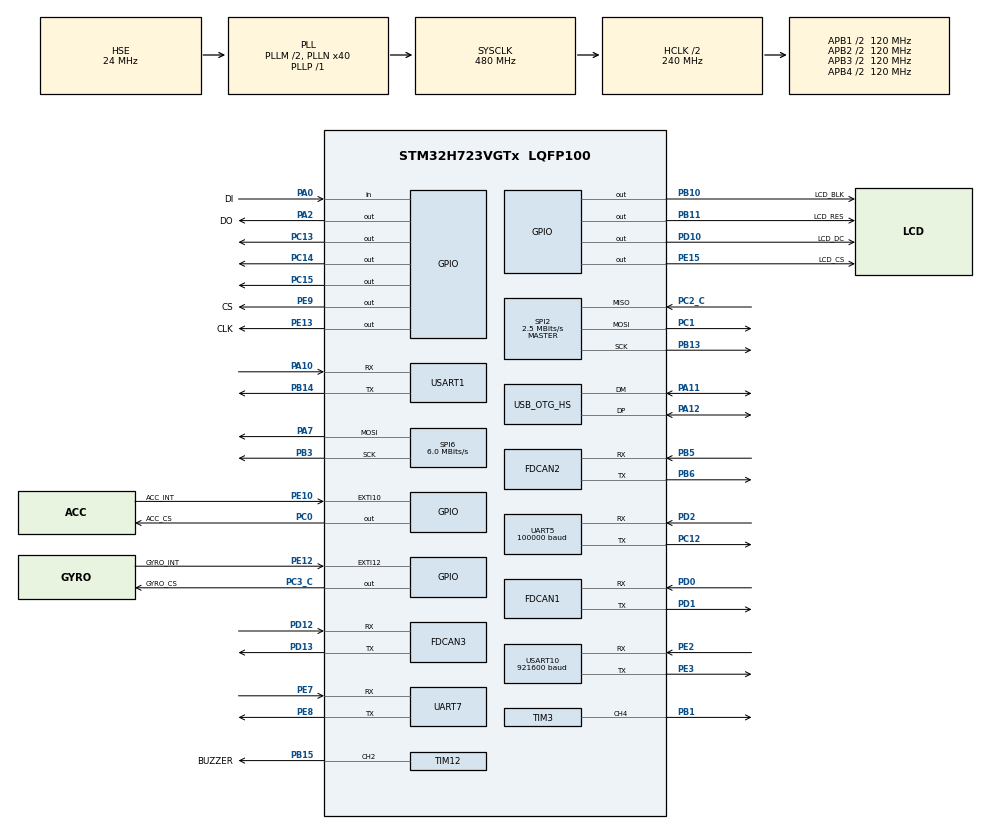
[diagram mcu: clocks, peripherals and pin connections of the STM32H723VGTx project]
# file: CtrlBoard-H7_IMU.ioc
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Dma.Request0=SPI2_RX
Dma.Request1=SPI2_TX
Dma.Request2=UART5_RX
Dma.Request3=USART10_RX
Dma.Request4=UART7_RX
Dma.Request5=USART1_RX
Dma.Request6=USART1_TX
Dma.SPI2_RX.0.Direction=DMA_PERIPH_TO_MEMORY
Dma.SPI2_RX.0.EventEnable=DISABLE
Dma.SPI2_RX.0.FIFOMode=DMA_FIFOMODE_DISABLE
Dma.SPI2_RX.0.Instance=DMA1_Stream2
Dma.SPI2_RX.0.MemDataAlignment=DMA_MDATAALIGN_BYTE
Dma.SPI2_RX.0.MemInc=DMA_MINC_ENABLE
Dma.SPI2_RX.0.Mode=DMA_NORMAL
Dma.SPI2_RX.0.PeriphDataAlignment=DMA_PDATAALIGN_BYTE
Dma.SPI2_RX.0.PeriphInc=DMA_PINC_DISABLE
Dma.SPI2_RX.0.Polarity=HAL_DMAMUX_REQ_GEN_RISING
Dma.SPI2_RX.0.Priority=DMA_PRIORITY_VERY_HIGH
Dma.SPI2_RX.0.RequestNumber=1
Dma.SPI2_RX.0.SignalID=NONE
Dma.SPI2_RX.0.SyncEnable=DISABLE
Dma.SPI2_RX.0.SyncPolarity=HAL_DMAMUX_SYNC_NO_EVENT
Dma.SPI2_RX.0.SyncRequestNumber=1
Dma.SPI2_RX.0.SyncSignalID=NONE
Dma.SPI2_TX.1.Direction=DMA_MEMORY_TO_PERIPH
Dma.SPI2_TX.1.EventEnable=DISABLE
Dma.SPI2_TX.1.FIFOMode=DMA_FIFOMODE_DISABLE
Dma.SPI2_TX.1.Instance=DMA1_Stream1
Dma.SPI2_TX.1.MemDataAlignment=DMA_MDATAALIGN_BYTE
Dma.SPI2_TX.1.MemInc=DMA_MINC_ENABLE
Dma.SPI2_TX.1.Mode=DMA_NORMAL
Dma.SPI2_TX.1.PeriphDataAlignment=DMA_PDATAALIGN_BYTE
Dma.SPI2_TX.1.PeriphInc=DMA_PINC_DISABLE
Dma.SPI2_TX.1.Polarity=HAL_DMAMUX_REQ_GEN_RISING
Dma.SPI2_TX.1.Priority=DMA_PRIORITY_HIGH
Dma.SPI2_TX.1.RequestNumber=1
Dma.SPI2_TX.1.SignalID=NONE
Dma.SPI2_TX.1.SyncEnable=DISABLE
Dma.SPI2_TX.1.SyncPolarity=HAL_DMAMUX_SYNC_NO_EVENT
Dma.SPI2_TX.1.SyncRequestNumber=1
Dma.SPI2_TX.1.SyncSignalID=NONE
Dma.UART5_RX.2.Direction=DMA_PERIPH_TO_MEMORY
Dma.UART5_RX.2.EventEnable=DISABLE
Dma.UART5_RX.2.FIFOMode=DMA_FIFOMODE_DISABLE
Dma.UART5_RX.2.Instance=DMA1_Stream0
Dma.UART5_RX.2.MemDataAlignment=DMA_MDATAALIGN_BYTE
Dma.UART5_RX.2.MemInc=DMA_MINC_ENABLE
Dma.UART5_RX.2.Mode=DMA_CIRCULAR
Dma.UART5_RX.2.PeriphDataAlignment=DMA_PDATAALIGN_BYTE
Dma.UART5_RX.2.PeriphInc=DMA_PINC_DISABLE
Dma.UART5_RX.2.Polarity=HAL_DMAMUX_REQ_GEN_RISING
Dma.UART5_RX.2.Priority=DMA_PRIORITY_VERY_HIGH
Dma.UART5_RX.2.RequestNumber=1
Dma.UART5_RX.2.SignalID=NONE
Dma.UART5_RX.2.SyncEnable=DISABLE
Dma.UART5_RX.2.SyncPolarity=HAL_DMAMUX_SYNC_NO_EVENT
Dma.UART5_RX.2.SyncRequestNumber=1
Dma.UART5_RX.2.SyncSignalID=NONE
Dma.UART7_RX.4.Direction=DMA_PERIPH_TO_MEMORY
Dma.UART7_RX.4.EventEnable=DISABLE
Dma.UART7_RX.4.FIFOMode=DMA_FIFOMODE_DISABLE
Dma.UART7_RX.4.Instance=DMA1_Stream5
Dma.UART7_RX.4.MemDataAlignment=DMA_MDATAALIGN_BYTE
Dma.UART7_RX.4.MemInc=DMA_MINC_ENABLE
Dma.UART7_RX.4.Mode=DMA_NORMAL
Dma.UART7_RX.4.PeriphDataAlignment=DMA_PDATAALIGN_BYTE
Dma.UART7_RX.4.PeriphInc=DMA_PINC_DISABLE
Dma.UART7_RX.4.Polarity=HAL_DMAMUX_REQ_GEN_RISING
Dma.UART7_RX.4.Priority=DMA_PRIORITY_VERY_HIGH
Dma.UART7_RX.4.RequestNumber=1
Dma.UART7_RX.4.SignalID=NONE
Dma.UART7_RX.4.SyncEnable=DISABLE
Dma.UART7_RX.4.SyncPolarity=HAL_DMAMUX_SYNC_NO_EVENT
Dma.UART7_RX.4.SyncRequestNumber=1
Dma.UART7_RX.4.SyncSignalID=NONE
Dma.USART10_RX.3.Direction=DMA_PERIPH_TO_MEMORY
Dma.USART10_RX.3.EventEnable=DISABLE
Dma.USART10_RX.3.FIFOMode=DMA_FIFOMODE_DISABLE
Dma.USART10_RX.3.Instance=DMA1_Stream3
Dma.USART10_RX.3.MemDataAlignment=DMA_MDATAALIGN_BYTE
Dma.USART10_RX.3.MemInc=DMA_MINC_ENABLE
Dma.USART10_RX.3.Mode=DMA_CIRCULAR
Dma.USART10_RX.3.PeriphDataAlignment=DMA_PDATAALIGN_BYTE
Dma.USART10_RX.3.PeriphInc=DMA_PINC_DISABLE
Dma.USART10_RX.3.Polarity=HAL_DMAMUX_REQ_GEN_RISING
Dma.USART10_RX.3.Priority=DMA_PRIORITY_VERY_HIGH
Dma.USART10_RX.3.RequestNumber=1
Dma.USART10_RX.3.SignalID=NONE
Dma.USART10_RX.3.SyncEnable=DISABLE
Dma.USART10_RX.3.SyncPolarity=HAL_DMAMUX_SYNC_NO_EVENT
Dma.USART10_RX.3.SyncRequestNumber=1
Dma.USART10_RX.3.SyncSignalID=NONE
Dma.USART1_RX.5.Direction=DMA_PERIPH_TO_MEMORY
Dma.USART1_RX.5.EventEnable=DISABLE
Dma.USART1_RX.5.FIFOMode=DMA_FIFOMODE_DISABLE
Dma.USART1_RX.5.Instance=DMA1_Stream6
Dma.USART1_RX.5.MemDataAlignment=DMA_MDATAALIGN_BYTE
Dma.USART1_RX.5.MemInc=DMA_MINC_ENABLE
Dma.USART1_RX.5.Mode=DMA_NORMAL
Dma.USART1_RX.5.PeriphDataAlignment=DMA_PDATAALIGN_BYTE
Dma.USART1_RX.5.PeriphInc=DMA_PINC_DISABLE
Dma.USART1_RX.5.Polarity=HAL_DMAMUX_REQ_GEN_RISING
Dma.USART1_RX.5.Priority=DMA_PRIORITY_VERY_HIGH
Dma.USART1_RX.5.RequestNumber=1
Dma.USART1_RX.5.SignalID=NONE
Dma.USART1_RX.5.SyncEnable=DISABLE
Dma.USART1_RX.5.SyncPolarity=HAL_DMAMUX_SYNC_NO_EVENT
Dma.USART1_RX.5.SyncRequestNumber=1
Dma.USART1_RX.5.SyncSignalID=NONE
Dma.USART1_TX.6.Direction=DMA_MEMORY_TO_PERIPH
Dma.USART1_TX.6.EventEnable=DISABLE
Dma.USART1_TX.6.FIFOMode=DMA_FIFOMODE_DISABLE
Dma.USART1_TX.6.Instance=DMA1_Stream4
Dma.USART1_TX.6.MemDataAlignment=DMA_MDATAALIGN_BYTE
Dma.USART1_TX.6.MemInc=DMA_MINC_ENABLE
Dma.USART1_TX.6.Mode=DMA_NORMAL
Dma.USART1_TX.6.PeriphDataAlignment=DMA_PDATAALIGN_BYTE
Dma.USART1_TX.6.PeriphInc=DMA_PINC_DISABLE
Dma.USART1_TX.6.Polarity=HAL_DMAMUX_REQ_GEN_RISING
Dma.USART1_TX.6.Priority=DMA_PRIORITY_MEDIUM
Dma.USART1_TX.6.RequestNumber=1
Dma.USART1_TX.6.SignalID=NONE
Dma.USART1_TX.6.SyncEnable=DISABLE
Dma.USART1_TX.6.SyncPolarity=HAL_DMAMUX_SYNC_NO_EVENT
Dma.USART1_TX.6.SyncRequestNumber=1
Dma.USART1_TX.6.SyncSignalID=NONE
FDCAN1.AutoRetransmission=ENABLE
FDCAN1.CalculateBaudRateNominal=1000000
FDCAN1.CalculateTimeBitNominal=1000
FDCAN1.CalculateTimeQuantumNominal=12.5
FDCAN1.DataPrescaler=1
FDCAN1.DataSyncJumpWidth=2
FDCAN1.DataTimeSeg1=13
FDCAN1.DataTimeSeg2=2
FDCAN1.ExtFiltersNbr=4
FDCAN1.FrameFormat=FDCAN_FRAME_CLASSIC
FDCAN1.MessageRAMOffset=0
FDCAN1.NominalPrescaler=1
FDCAN1.NominalSyncJumpWidth=20
FDCAN1.NominalTimeSeg1=59
FDCAN1.NominalTimeSeg2=20
FDCAN1.ProtocolException=ENABLE
FDCAN1.RxBuffersNbr=2
FDCAN1.RxFifo0ElmtSize=FDCAN_DATA_BYTES_8
FDCAN1.RxFifo0ElmtsNbr=8
FDCAN1.RxFifo1ElmtSize=FDCAN_DATA_BYTES_8
FDCAN1.RxFifo1ElmtsNbr=8
FDCAN1.StdFiltersNbr=4
FDCAN1.TxBuffersNbr=8
FDCAN1.TxElmtSize=FDCAN_DATA_BYTES_8
FDCAN1.TxEventsNbr=8
FDCAN1.TxFifoQueueElmtsNbr=8
FDCAN2.AutoRetransmission=ENABLE
FDCAN2.CalculateBaudRateNominal=1000000
FDCAN2.CalculateTimeBitNominal=1000
FDCAN2.CalculateTimeQuantumNominal=12.5
FDCAN2.DataPrescaler=1
FDCAN2.DataSyncJumpWidth=2
FDCAN2.DataTimeSeg1=11
FDCAN2.DataTimeSeg2=4
FDCAN2.ExtFiltersNbr=4
FDCAN2.FrameFormat=FDCAN_FRAME_FD_BRS
FDCAN2.MessageRAMOffset=854
FDCAN2.NominalPrescaler=1
FDCAN2.NominalSyncJumpWidth=20
FDCAN2.NominalTimeSeg1=59
FDCAN2.NominalTimeSeg2=20
FDCAN2.ProtocolException=ENABLE
FDCAN2.RxBuffersNbr=2
FDCAN2.RxFifo0ElmtsNbr=10
FDCAN2.RxFifo1ElmtSize=FDCAN_DATA_BYTES_8
FDCAN2.RxFifo1ElmtsNbr=10
FDCAN2.StdFiltersNbr=4
FDCAN2.TxBuffersNbr=10
FDCAN2.TxElmtSize=FDCAN_DATA_BYTES_8
FDCAN2.TxEventsNbr=10
FDCAN2.TxFifoQueueElmtsNbr=10
FDCAN3.AutoRetransmission=ENABLE
FDCAN3.CalculateBaudRateNominal=1000000
FDCAN3.CalculateTimeBitNominal=1000
FDCAN3.CalculateTimeQuantumNominal=12.5
FDCAN3.DataPrescaler=1
FDCAN3.DataSyncJumpWidth=2
FDCAN3.DataTimeSeg1=11
FDCAN3.DataTimeSeg2=4
FDCAN3.ExtFiltersNbr=4
FDCAN3.FrameFormat=FDCAN_FRAME_FD_BRS
FDCAN3.MessageRAMOffset=1706
FDCAN3.NominalPrescaler=1
FDCAN3.NominalSyncJumpWidth=20
FDCAN3.NominalTimeSeg1=59
FDCAN3.NominalTimeSeg2=20
FDCAN3.ProtocolException=ENABLE
FDCAN3.RxBuffersNbr=2
FDCAN3.RxFifo0ElmtsNbr=10
FDCAN3.RxFifo1ElmtsNbr=10
FDCAN3.StdFiltersNbr=4
FDCAN3.TxBuffersNbr=10
FDCAN3.TxEventsNbr=10
FDCAN3.TxFifoQueueElmtsNbr=10
FREERTOS.MEMORY_ALLOCATION=0
FREERTOS.Tasks01=defaultTask,24,128,StartDefaultTask,Default,NULL,Dynamic,NULL,NULL;INS_TASK,48,512,INS_Task,As external,NULL,Dynamic,NULL,NULL;Gimbal_TASK,24,512,Gimbal_Task,As external,NULL,Dynamic,NULL,NULL;Other_TASK,24,128,Other_Task,As external,NULL,Dynamic,NULL,NULL;Shoot_TASK,24,512,Shoot_Task,As external,NULL,Dynamic,NULL,NULL;Vision_TASK,24,512,Vision_Task,As external,NULL,Dynamic,NULL,NULL;Can_Comm,24,512,Can_Comm_Task,As external,NULL,Dynamic,NULL,NULL;RC_TASK,24,512,RC_Task,As external,NULL,Dynamic,NULL,NULL
FREERTOS.configENABLE_FPU=1
FREERTOS.configTOTAL_HEAP_SIZE=30720
Mcu.Family=STM32H7
Mcu.Name=STM32H723VGTx
Mcu.Package=LQFP100
NVIC.DMA1_Stream0_IRQn=true\:5\:0\:true\:false\:true\:true\:false\:true\:true
NVIC.DMA1_Stream1_IRQn=true\:5\:0\:true\:false\:true\:true\:false\:true\:true
NVIC.DMA1_Stream2_IRQn=true\:5\:0\:false\:false\:true\:true\:false\:true\:true
NVIC.DMA1_Stream3_IRQn=true\:5\:0\:false\:false\:true\:true\:false\:true\:true
NVIC.DMA1_Stream4_IRQn=true\:5\:0\:false\:false\:true\:true\:false\:true\:true
NVIC.DMA1_Stream5_IRQn=true\:5\:0\:false\:false\:true\:true\:false\:true\:true
NVIC.DMA1_Stream6_IRQn=true\:5\:0\:false\:false\:true\:true\:false\:true\:true
NVIC.FDCAN1_IT0_IRQn=true\:5\:0\:true\:false\:true\:true\:true\:true\:true
NVIC.FDCAN2_IT0_IRQn=true\:5\:0\:true\:false\:true\:true\:true\:true\:true
NVIC.FDCAN3_IT0_IRQn=true\:5\:0\:false\:false\:true\:true\:true\:true\:true
NVIC.OTG_HS_IRQn=true\:5\:0\:false\:false\:true\:true\:true\:true\:true
NVIC.PriorityGroup=NVIC_PRIORITYGROUP_4
NVIC.SPI2_IRQn=true\:5\:0\:true\:false\:true\:true\:false\:true\:true
NVIC.TIM15_IRQn=true\:5\:0\:false\:false\:true\:true\:true\:true\:true
NVIC.TIM2_IRQn=true\:15\:0\:false\:false\:true\:false\:false\:true\:true
NVIC.TIM8_BRK_TIM12_IRQn=true\:5\:0\:false\:false\:true\:true\:true\:true\:true
NVIC.TimeBase=TIM2_IRQn
NVIC.TimeBaseIP=TIM2
NVIC.UART5_IRQn=true\:5\:0\:false\:false\:true\:true\:true\:true\:true
NVIC.USART10_IRQn=true\:5\:0\:false\:false\:true\:true\:true\:true\:true
PA0.GPIO_Label=DI
PA0.GPIO_PuPd=GPIO_PULLUP
PA0.Signal=GPIO_Input
PA10.Mode=Asynchronous
PA10.Signal=USART1_RX
PA11.Mode=Device_Only_FS
PA11.Signal=USB_OTG_HS_DM
PA12.Mode=Device_Only_FS
PA12.Signal=USB_OTG_HS_DP
PA13(JTMS/SWDIO).Mode=Serial_Wire
PA13(JTMS/SWDIO).Signal=DEBUG_JTMS-SWDIO
PA14(JTCK/SWCLK).Mode=Serial_Wire
PA14(JTCK/SWCLK).Signal=DEBUG_JTCK-SWCLK
PA2.GPIO_Label=DO
PA2.GPIO_PuPd=GPIO_PULLUP
PA2.GPIO_Speed=GPIO_SPEED_FREQ_VERY_HIGH
PA2.PinState=GPIO_PIN_SET
PA2.Signal=GPIO_Output
PA5.Signal=ADCx_INP19
PA7.GPIO_Speed=GPIO_SPEED_FREQ_VERY_HIGH
PA7.Mode=TX_Only_Simplex_Unidirect_Master
PA7.Signal=SPI6_MOSI
PB1.Signal=S_TIM3_CH4
PB10.GPIO_Label=LCD_BLK
PB10.Signal=GPIO_Output
PB11.GPIO_Label=LCD_RES
PB11.Signal=GPIO_Output
PB13.GPIO_Speed=GPIO_SPEED_FREQ_VERY_HIGH
PB13.Mode=Full_Duplex_Master
PB13.Signal=SPI2_SCK
PB14.Mode=Asynchronous
PB14.Signal=USART1_TX
PB15.GPIO_Label=BUZZER
PB15.Signal=S_TIM12_CH2
PB3(JTDO/TRACESWO).GPIO_Speed=GPIO_SPEED_FREQ_VERY_HIGH
PB3(JTDO/TRACESWO).Mode=TX_Only_Simplex_Unidirect_Master
PB3(JTDO/TRACESWO).Signal=SPI6_SCK
PB5.Mode=FDCAN_Activate
PB5.Signal=FDCAN2_RX
PB6.Mode=FDCAN_Activate
PB6.Signal=FDCAN2_TX
PC0.GPIO_Label=ACC_CS
PC0.GPIO_Speed=GPIO_SPEED_FREQ_VERY_HIGH
PC0.PinState=GPIO_PIN_SET
PC0.Signal=GPIO_Output
PC1.GPIO_Speed=GPIO_SPEED_FREQ_VERY_HIGH
PC1.Mode=Full_Duplex_Master
PC1.Signal=SPI2_MOSI
PC12.GPIO_Speed=GPIO_SPEED_FREQ_VERY_HIGH
PC12.Mode=Asynchronous
PC12.Signal=UART5_TX
PC13.Signal=GPIO_Output
PC14-OSC32_IN.Signal=GPIO_Output
PC15-OSC32_OUT.Signal=GPIO_Output
PC2_C.GPIO_Speed=GPIO_SPEED_FREQ_VERY_HIGH
PC2_C.Mode=Full_Duplex_Master
PC2_C.Signal=SPI2_MISO
PC3_C.GPIO_Label=GYRO_CS
PC3_C.GPIO_Speed=GPIO_SPEED_FREQ_VERY_HIGH
PC3_C.PinState=GPIO_PIN_SET
PC3_C.Signal=GPIO_Output
PD0.Mode=FDCAN_Activate
PD0.Signal=FDCAN1_RX
PD1.Mode=FDCAN_Activate
PD1.Signal=FDCAN1_TX
PD10.GPIO_Label=LCD_DC
PD10.Signal=GPIO_Output
PD12.Mode=FDCAN_Activate
PD12.Signal=FDCAN3_RX
PD13.Mode=FDCAN_Activate
PD13.Signal=FDCAN3_TX
PD2.GPIO_Speed=GPIO_SPEED_FREQ_VERY_HIGH
PD2.Mode=Asynchronous
PD2.Signal=UART5_RX
PD7.GPIO_Speed=GPIO_SPEED_FREQ_VERY_HIGH
PD7.Signal=SPI1_MOSI
PE0.GPIO_Speed=GPIO_SPEED_FREQ_VERY_HIGH
PE0.Signal=UART8_RX
PE1.GPIO_Speed=GPIO_SPEED_FREQ_VERY_HIGH
PE1.Signal=UART8_TX
PE10.GPIO_Label=ACC_INT
PE10.Signal=GPXTI10
PE12.GPIO_Label=GYRO_INT
PE12.Signal=GPXTI12
PE13.GPIO_Label=CLK
PE13.GPIO_PuPd=GPIO_PULLUP
PE13.GPIO_Speed=GPIO_SPEED_FREQ_VERY_HIGH
PE13.PinState=GPIO_PIN_SET
PE13.Signal=GPIO_Output
PE15.GPIO_Label=LCD_CS
PE15.Signal=GPIO_Output
PE2.GPIO_Speed=GPIO_SPEED_FREQ_VERY_HIGH
PE2.Mode=Asynchronous
PE2.Signal=USART10_RX
PE3.GPIO_Speed=GPIO_SPEED_FREQ_VERY_HIGH
PE3.Mode=Asynchronous
PE3.Signal=USART10_TX
PE7.Mode=Asynchronous
PE7.Signal=UART7_RX
PE8.Mode=Asynchronous
PE8.Signal=UART7_TX
PE9.GPIO_Label=CS
PE9.GPIO_PuPd=GPIO_PULLUP
PE9.GPIO_Speed=GPIO_SPEED_FREQ_VERY_HIGH
PE9.PinState=GPIO_PIN_SET
PE9.Signal=GPIO_Output
PH0-OSC_IN.Mode=HSE-External-Oscillator
PH0-OSC_IN.Signal=RCC_OSC_IN
PH1-OSC_OUT.Mode=HSE-External-Oscillator
PH1-OSC_OUT.Signal=RCC_OSC_OUT
ProjectManager.HeapSize=0x200
ProjectManager.StackSize=0x800
ProjectManager.TargetToolchain=CMake
RCC.ADCFreq_Value=96000000
RCC.APB1Freq_Value=120000000
RCC.APB2Freq_Value=120000000
RCC.APB3Freq_Value=120000000
RCC.APB4Freq_Value=120000000
RCC.CortexFreq_Value=480000000
RCC.D1PPRE=RCC_APB3_DIV2
RCC.D2PPRE1=RCC_APB1_DIV2
RCC.D2PPRE2=RCC_APB2_DIV2
RCC.D3PPRE=RCC_APB4_DIV2
RCC.DIVM1=2
RCC.DIVM2=2
RCC.DIVN1=40
RCC.DIVN2=16
RCC.DIVP1=1
RCC.DIVQ1=6
RCC.DIVQ2=3
RCC.HCLKFreq_Value=240000000
RCC.HPRE=RCC_HCLK_DIV2
RCC.HSE_VALUE=24000000
RCC.PLL2FRACN=0
RCC.PLL3FRACN=0
RCC.PLLFRACN=0
RCC.PLLSourceVirtual=RCC_PLLSOURCE_HSE
RCC.SPI6CLockSelection=RCC_SPI6CLKSOURCE_HSE
RCC.SYSCLKFreq_VALUE=480000000
RCC.SYSCLKSource=RCC_SYSCLKSOURCE_PLLCLK
RCC.USBCLockSelection=RCC_USBCLKSOURCE_HSI48
RCC.USBFreq_Value=48000000
SH.ADCx_INP19.0=ADC1_INP19
SH.S_TIM12_CH2.0=TIM12_CH2,PWM Generation2 CH2
SH.S_TIM3_CH4.0=TIM3_CH4,PWM Generation4 CH4
SPI2.BaudRatePrescaler=SPI_BAUDRATEPRESCALER_32
SPI2.CLKPhase=SPI_PHASE_2EDGE
SPI2.CLKPolarity=SPI_POLARITY_HIGH
SPI2.CalculateBaudRate=2.5 MBits/s
SPI2.DataSize=SPI_DATASIZE_8BIT
SPI2.Direction=SPI_DIRECTION_2LINES
SPI2.Mode=SPI_MODE_MASTER
SPI2.VirtualType=VM_MASTER
SPI6.BaudRatePrescaler=SPI_BAUDRATEPRESCALER_4
SPI6.CLKPhase=SPI_PHASE_2EDGE
SPI6.CalculateBaudRate=6.0 MBits/s
SPI6.DataSize=SPI_DATASIZE_8BIT
SPI6.Direction=SPI_DIRECTION_2LINES_TXONLY
SPI6.Mode=SPI_MODE_MASTER
SPI6.VirtualType=VM_MASTER
STMicroelectronics.X-CUBE-ALGOBUILD.1.4.0.LibraryCcDSPOoLibraryJjDSPOoLibrary=true
TIM12.Channel-PWM\ Generation2\ CH2=TIM_CHANNEL_2
TIM12.Period=999
TIM12.Prescaler=120-1
TIM15.AutoReloadPreload=TIM_AUTORELOAD_PRELOAD_ENABLE
TIM15.Period=999
TIM15.Prescaler=239
TIM3.AutoReloadPreload=TIM_AUTORELOAD_PRELOAD_ENABLE
TIM3.Channel-PWM\ Generation4\ CH4=TIM_CHANNEL_4
TIM3.Period=10000-1
TIM3.Prescaler=24-1
UART5.BaudRate=100000
UART5.Parity=PARITY_EVEN
UART5.StopBits=UART_STOPBITS_2
UART5.WordLength=WORDLENGTH_9B
USART1.VirtualMode-Asynchronous=VM_ASYNC
USART10.BaudRate=921600
USART10.VirtualMode=VM_ASYNC
USB_DEVICE.CLASS_NAME_HS=CDC
USB_DEVICE.VirtualMode=Cdc
USB_DEVICE.VirtualModeHS=Cdc_HS
USB_OTG_HS.VirtualMode-Device_Only_FS=Device_Only_FS
VP_FREERTOS_VS_CMSIS_V2.Mode=CMSIS_V2
VP_MEMORYMAP_VS_MEMORYMAP.Mode=CurAppReg
VP_STMicroelectronics.X-CUBE-ALGOBUILD_VS_DSPOoLibraryJjLibrary_1.4.0_1.4.0.Mode=DSPOoLibraryJjLibrary
VP_SYS_VS_tim2.Mode=TIM2
VP_TIM12_VS_ClockSourceINT.Mode=Internal
VP_TIM15_VS_ClockSourceINT.Mode=Internal
VP_USB_DEVICE_VS_USB_DEVICE_CDC_HS.Mode=CDC_HS
board=custom

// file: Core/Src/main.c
/* USER CODE BEGIN Header */
/**
  ******************************************************************************
  * @file           : main.c
  * @brief          : Main program body
  ******************************************************************************
  * @attention
  *
  * Copyright (c) 2024 STMicroelectronics.
  * All rights reserved.
  *
  * This software is licensed under terms that can be found in the LICENSE file
  * in the root directory of this software component.
  * If no LICENSE file comes with this software, it is provided AS-IS.
  *
  ******************************************************************************
  */
/* USER CODE END Header */
#include "main.h"
#include "FreeRTOS.h"
#include "cmsis_os2.h"
#include "dma.h"
#include "fdcan.h"
#include "spi.h"
#include "tim.h"
#include "usart.h"
#include "usb_device.h"
#include "gpio.h"

/* USER CODE BEGIN Includes */
#include "BMI088driver.h"
#include "kalman_filter.h"
#include "mahony_filter.h"
#include "bsp_dwt.h"
#include "BMI088Middleware.h"
#include "bsp_tim.h"
#include "task_config_and_callback.h"
/* USER CODE END Includes */

void SystemClock_Config(void);
void MX_FREERTOS_Init(void);

/* USER CODE BEGIN 0 */
uint16_t adc_val[1];
/* USER CODE END 0 */

int main(void)
{

  /* MCU Configuration--------------------------------------------------------*/

  /* Reset of all peripherals, Initializes the Flash interface and the Systick. */
  HAL_Init();

  /* USER CODE BEGIN Init */
    //06 01 00 00 00 00 00 00 00 00 00 00 00 00 80 3F
  /* USER CODE END Init */

  /* Configure the system clock */
  SystemClock_Config();

  /* Initialize all configured peripherals */
  MX_GPIO_Init();
  MX_DMA_Init();
  MX_SPI2_Init();
  MX_FDCAN1_Init();
  MX_FDCAN2_Init();
  MX_TIM3_Init();
  MX_FDCAN3_Init();
  MX_UART5_Init();
  MX_USART10_UART_Init();
  MX_TIM12_Init();
  MX_UART7_Init();
  MX_USART1_UART_Init();
  MX_TIM15_Init();
  MX_SPI6_Init();
  /* USER CODE BEGIN 2 */

    Task_Init();
    /* BMI088????? */
    while (BMI088_init(&hspi2, 0) != BMI088_NO_ERROR)
    {

        ;
    }
    Power_OUT1_ON;//imu?????????????????led????
    Power_OUT2_ON;
    Power_OUT3_ON;

  /* USER CODE END 2 */

  /* Init scheduler */
  osKernelInitialize();  /* Call init function for freertos objects (in cmsis_os2.c) */
  MX_FREERTOS_Init();

  /* Start scheduler */
  osKernelStart();

  /* We should never get here as control is now taken by the scheduler */

  /* Infinite loop */
    while (1)
    {

    }
}

void SystemClock_Config(void)
{
  RCC_OscInitTypeDef RCC_OscInitStruct = {0};
  RCC_ClkInitTypeDef RCC_ClkInitStruct = {0};

  /** Supply configuration update enable
  */
  HAL_PWREx_ConfigSupply(PWR_LDO_SUPPLY);

  /** Configure the main internal regulator output voltage
  */
  __HAL_PWR_VOLTAGESCALING_CONFIG(PWR_REGULATOR_VOLTAGE_SCALE0);

  while(!__HAL_PWR_GET_FLAG(PWR_FLAG_VOSRDY)) {}

  /** Initializes the RCC Oscillators according to the specified parameters
  * in the RCC_OscInitTypeDef structure.
  */
  RCC_OscInitStruct.OscillatorType = RCC_OSCILLATORTYPE_HSI48|RCC_OSCILLATORTYPE_HSE;
  RCC_OscInitStruct.HSEState = RCC_HSE_ON;
  RCC_OscInitStruct.HSI48State = RCC_HSI48_ON;
  RCC_OscInitStruct.PLL.PLLState = RCC_PLL_ON;
  RCC_OscInitStruct.PLL.PLLSource = RCC_PLLSOURCE_HSE;
  RCC_OscInitStruct.PLL.PLLM = 2;
  RCC_OscInitStruct.PLL.PLLN = 40;
  RCC_OscInitStruct.PLL.PLLP = 1;
  RCC_OscInitStruct.PLL.PLLQ = 6;
  RCC_OscInitStruct.PLL.PLLR = 2;
  RCC_OscInitStruct.PLL.PLLRGE = RCC_PLL1VCIRANGE_3;
  RCC_OscInitStruct.PLL.PLLVCOSEL = RCC_PLL1VCOWIDE;
  RCC_OscInitStruct.PLL.PLLFRACN = 0;
  if (HAL_RCC_OscConfig(&RCC_OscInitStruct) != HAL_OK)
  {
    Error_Handler();
  }

  /** Initializes the CPU, AHB and APB buses clocks
  */
  RCC_ClkInitStruct.ClockType = RCC_CLOCKTYPE_HCLK|RCC_CLOCKTYPE_SYSCLK
                              |RCC_CLOCKTYPE_PCLK1|RCC_CLOCKTYPE_PCLK2
                              |RCC_CLOCKTYPE_D3PCLK1|RCC_CLOCKTYPE_D1PCLK1;
  RCC_ClkInitStruct.SYSCLKSource = RCC_SYSCLKSOURCE_PLLCLK;
  RCC_ClkInitStruct.SYSCLKDivider = RCC_SYSCLK_DIV1;
  RCC_ClkInitStruct.AHBCLKDivider = RCC_HCLK_DIV2;
  RCC_ClkInitStruct.APB3CLKDivider = RCC_APB3_DIV2;
  RCC_ClkInitStruct.APB1CLKDivider = RCC_APB1_DIV2;
  RCC_ClkInitStruct.APB2CLKDivider = RCC_APB2_DIV2;
  RCC_ClkInitStruct.APB4CLKDivider = RCC_APB4_DIV2;

  if (HAL_RCC_ClockConfig(&RCC_ClkInitStruct, FLASH_LATENCY_3) != HAL_OK)
  {
    Error_Handler();
  }
}

// void HAL_TIM_PeriodElapsedCallback(TIM_HandleTypeDef *htim)
// {
//   /* USER CODE BEGIN Callback 0 */
// // // // // // // // // // // // // // // // // // // // //
//   /* USER CODE END Callback 0 */
//   if (htim->Instance == TIM2)
//   {
//     HAL_IncTick();
//   }
//   /* USER CODE BEGIN Callback 1 */
// // // // // // // // // // // // // // // // // // // // //
//   /* USER CODE END Callback 1 */
// }

void Error_Handler(void)
{
    __disable_irq();
    while (1)
    {
    }
}

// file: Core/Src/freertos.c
/* USER CODE BEGIN Header */
/**
  ******************************************************************************
  * File Name          : freertos.c
  * Description        : Code for freertos applications
  ******************************************************************************
  * @attention
  *
  * Copyright (c) 2024 STMicroelectronics.
  * All rights reserved.
  *
  * This software is licensed under terms that can be found in the LICENSE file
  * in the root directory of this software component.
  * If no LICENSE file comes with this software, it is provided AS-IS.
  *
  ******************************************************************************
  */
/* USER CODE END Header */

#include "FreeRTOS.h"
#include "task.h"
#include "main.h"
#include "FreeRTOS.h"
#include "cmsis_os2.h"

/* USER CODE BEGIN Includes */
#include "INS_task.h"
/* USER CODE END Includes */

/* Definitions for defaultTask */
osThreadId_t defaultTaskHandle;
const osThreadAttr_t defaultTask_attributes = {
  .name = "defaultTask",
  .stack_size = 128 * 4,
  .priority = (osPriority_t) osPriorityNormal,
};
/* Definitions for INS_TASK */
osThreadId_t INS_TASKHandle;
const osThreadAttr_t INS_TASK_attributes = {
  .name = "INS_TASK",
  .stack_size = 512 * 4,
  .priority = (osPriority_t) osPriorityRealtime,
};
/* Definitions for Gimbal_TASK */
osThreadId_t Gimbal_TASKHandle;
const osThreadAttr_t Gimbal_TASK_attributes = {
  .name = "Gimbal_TASK",
  .stack_size = 512 * 4,
  .priority = (osPriority_t) osPriorityNormal,
};
/* Definitions for Other_TASK */
osThreadId_t Other_TASKHandle;
const osThreadAttr_t Other_TASK_attributes = {
  .name = "Other_TASK",
  .stack_size = 128 * 4,
  .priority = (osPriority_t) osPriorityNormal,
};
/* Definitions for Shoot_TASK */
osThreadId_t Shoot_TASKHandle;
const osThreadAttr_t Shoot_TASK_attributes = {
  .name = "Shoot_TASK",
  .stack_size = 512 * 4,
  .priority = (osPriority_t) osPriorityNormal,
};
/* Definitions for Vision_TASK */
osThreadId_t Vision_TASKHandle;
const osThreadAttr_t Vision_TASK_attributes = {
  .name = "Vision_TASK",
  .stack_size = 512 * 4,
  .priority = (osPriority_t) osPriorityNormal,
};
/* Definitions for Can_Comm */
osThreadId_t Can_CommHandle;
const osThreadAttr_t Can_Comm_attributes = {
  .name = "Can_Comm",
  .stack_size = 512 * 4,
  .priority = (osPriority_t) osPriorityNormal,
};
/* Definitions for RC_TASK */
osThreadId_t RC_TASKHandle;
const osThreadAttr_t RC_TASK_attributes = {
  .name = "RC_TASK",
  .stack_size = 512 * 4,
  .priority = (osPriority_t) osPriorityNormal,
};

void StartDefaultTask(void *argument);
extern void INS_Task(void *argument);
extern void Gimbal_Task(void *argument);
extern void Other_Task(void *argument);
extern void Shoot_Task(void *argument);
extern void Vision_Task(void *argument);
extern void Can_Comm_Task(void *argument);
extern void RC_Task(void *argument);

extern void MX_USB_DEVICE_Init(void);
void MX_FREERTOS_Init(void); /* (MISRA C 2004 rule 8.1) */

void MX_FREERTOS_Init(void) {

  /* Create the thread(s) */
  /* creation of defaultTask */
  defaultTaskHandle = osThreadNew(StartDefaultTask, NULL, &defaultTask_attributes);

  /* creation of INS_TASK */
  INS_TASKHandle = osThreadNew(INS_Task, NULL, &INS_TASK_attributes);

  /* creation of Gimbal_TASK */
  Gimbal_TASKHandle = osThreadNew(Gimbal_Task, NULL, &Gimbal_TASK_attributes);

  /* creation of Other_TASK */
  Other_TASKHandle = osThreadNew(Other_Task, NULL, &Other_TASK_attributes);

  /* creation of Shoot_TASK */
  Shoot_TASKHandle = osThreadNew(Shoot_Task, NULL, &Shoot_TASK_attributes);

  /* creation of Vision_TASK */
  Vision_TASKHandle = osThreadNew(Vision_Task, NULL, &Vision_TASK_attributes);

  /* creation of Can_Comm */
  Can_CommHandle = osThreadNew(Can_Comm_Task, NULL, &Can_Comm_attributes);

  /* creation of RC_TASK */
  RC_TASKHandle = osThreadNew(RC_Task, NULL, &RC_TASK_attributes);

}

void StartDefaultTask(void *argument)
{
  /* init code for USB_DEVICE */
  MX_USB_DEVICE_Init();
  for(;;)
  {
    osDelay(1);
  }
}
